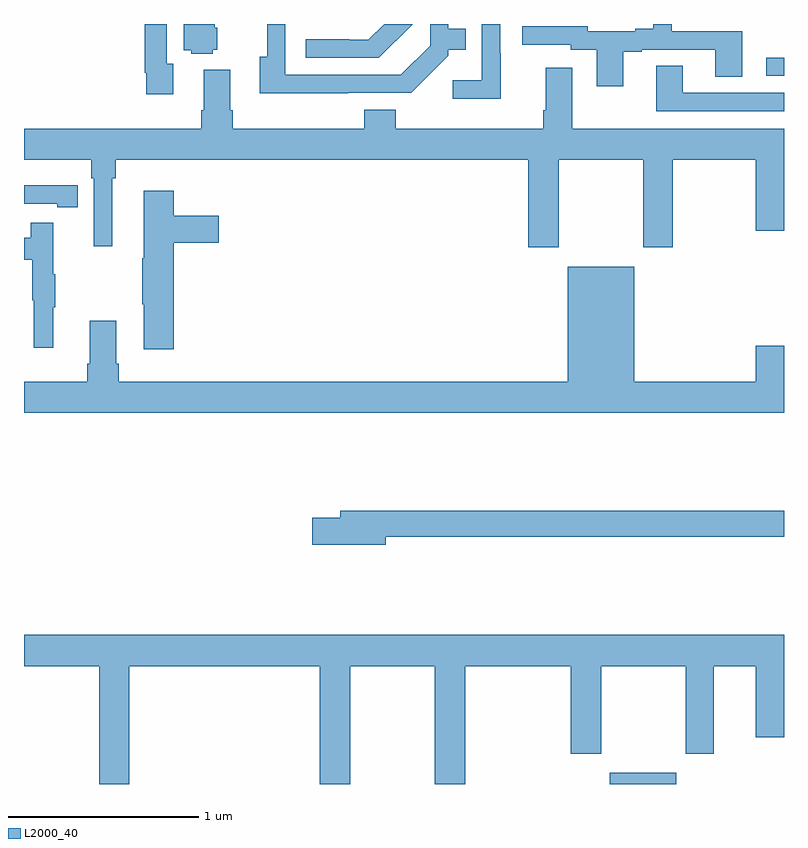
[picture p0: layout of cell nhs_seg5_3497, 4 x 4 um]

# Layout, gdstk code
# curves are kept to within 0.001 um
import gdstk
lib = gdstk.Library(unit=1e-6, precision=1e-09)
def R(c, l, rs):  # rectangles x0, y0, x1, y1
    for r in rs: c.add(gdstk.rectangle(r[:2], r[2:], *l))
def P(c, l, *ps):  # polygons
    for p in ps: c.add(gdstk.Polygon(p, *l))
L2000_40 = (2000, 40)

nhs_seg5_3497 = lib.new_cell('nhs_seg5_3497')
R(nhs_seg5_3497, L2000_40, [(320.084,862.799,320.434,862.858), (320.907,866.526,321,866.622)])
P(nhs_seg5_3497, L2000_40, [(320.155,866.652),(320.251,866.652),(320.251,866.664),(320.639,866.664),(320.639,866.521),(320.779,866.521),(320.779,866.76),(320.409,866.76),(320.409,866.799),(320.312,866.799),(320.312,866.773),(320.216,866.773),(320.216,866.76),(319.968,866.76),(319.968,866.787),(319.623,866.787),(319.623,866.691),(319.878,866.691),(319.878,866.664),(320.015,866.664),(320.015,866.472),(320.155,866.472)],
  [(319.045,866.799),(318.897,866.799),(318.813,866.715),(318.713,866.715),(318.713,866.718),(318.483,866.718),(318.483,866.622),(318.868,866.622)],
  [(317.994,866.664),(318.016,866.664),(318.016,866.778),(318.004,866.778),(318.004,866.799),(317.84,866.799),(317.84,866.66),(317.88,866.66),(317.88,866.642),(317.994,866.642)],
  [(318.707,866.436),(319.038,866.436),(319.233,866.631),(319.233,866.663),(319.325,866.663),(319.325,866.773),(319.234,866.773),(319.234,866.799),(319.137,866.799),(319.137,866.685),(318.984,866.532),(318.375,866.532),(318.375,866.799),(318.279,866.799),(318.279,866.626),(318.242,866.626),(318.242,866.435)],
  [(319.509,866.645),(319.506,866.645),(319.506,866.799),(319.41,866.799),(319.41,866.503),(319.257,866.503),(319.257,866.405),(319.509,866.405)],
  [(317.785,866.591),(317.751,866.591),(317.751,866.799),(317.635,866.799),(317.635,866.542),(317.643,866.542),(317.643,866.43),(317.785,866.43)],
  [(321,866.436),(320.467,866.436),(320.467,866.579),(320.327,866.579),(320.327,866.34),(321,866.34)],
  [(319.815,866.084),(320.26,866.084),(320.26,865.623),(320.415,865.623),(320.415,866.084),(320.852,866.084),(320.852,865.71),(321,865.71),(321,866.248),(319.885,866.248),(319.885,866.569),(319.745,866.569),(319.745,866.344),(319.733,866.344),(319.733,866.248),(318.956,866.248),(318.956,866.347),(318.791,866.347),(318.791,866.248),(318.098,866.248),(318.098,866.344),(318.085,866.344),(318.085,866.557),(317.945,866.557),(317.945,866.344),(317.933,866.344),(317.933,866.248),(317,866.248),(317,866.084),(317.354,866.084),(317.354,865.988),(317.367,865.988),(317.367,865.629),(317.464,865.629),(317.464,865.988),(317.483,865.988),(317.483,866.084),(319.655,866.084),(319.655,865.623),(319.815,865.623)],
  [(317.282,865.95),(317.174,865.95),(317.174,865.951),(317,865.951),(317,865.854),(317.174,865.854),(317.174,865.834),(317.282,865.834)],
  [(317.789,865.649),(318.025,865.649),(318.025,865.791),(317.789,865.791),(317.789,865.921),(317.63,865.921),(317.63,865.565),(317.623,865.565),(317.623,865.324),(317.63,865.324),(317.63,865.086),(317.789,865.086)],
  [(317.153,865.307),(317.164,865.307),(317.164,865.481),(317.153,865.481),(317.153,865.753),(317.035,865.753),(317.035,865.674),(317,865.674),(317,865.558),(317.043,865.558),(317.043,865.344),(317.05,865.344),(317.05,865.095),(317.153,865.095)],
  [(321,865.105),(320.852,865.105),(320.852,864.916),(320.212,864.916),(320.212,865.522),(319.862,865.522),(319.862,864.916),(317.498,864.916),(317.498,865.012),(317.485,865.012),(317.485,865.237),(317.345,865.237),(317.345,865.012),(317.333,865.012),(317.333,864.916),(317,864.916),(317,864.752),(321,864.752)],
  [(318.904,864.1),(321,864.1),(321,864.236),(318.665,864.236),(318.665,864.2),(318.516,864.2),(318.516,864.058),(318.904,864.058)],
  [(317,863.42),(317.395,863.42),(317.395,862.799),(317.555,862.799),(317.555,863.42),(318.557,863.42),(318.557,862.799),(318.717,862.799),(318.717,863.42),(319.162,863.42),(319.162,862.799),(319.322,862.799),(319.322,863.42),(319.877,863.42),(319.877,862.959),(320.037,862.959),(320.037,863.42),(320.482,863.42),(320.482,862.959),(320.629,862.959),(320.629,863.42),(320.852,863.42),(320.852,863.046),(321,863.046),(321,863.584),(317,863.584)])

lib.write_gds('nhs_seg5_3497.gds')
